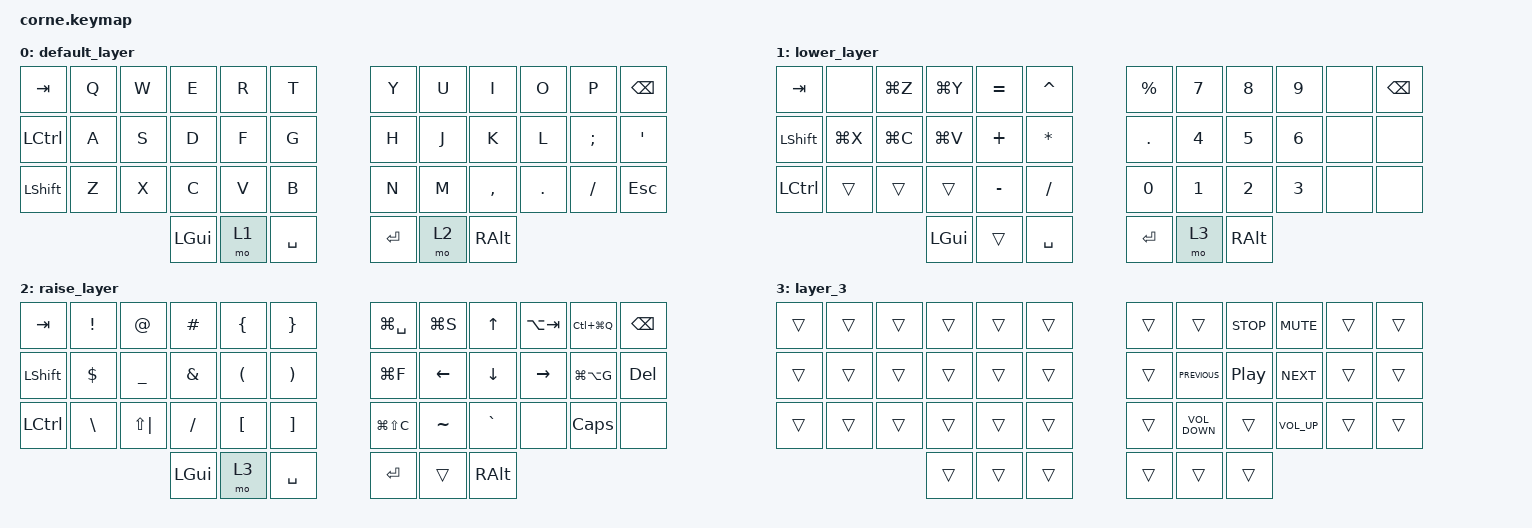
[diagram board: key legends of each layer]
/*
 * Copyright (c) 2020 The ZMK Contributors
 *
 * SPDX-License-Identifier: MIT
 */

#include <behaviors.dtsi>
#include <dt-bindings/zmk/keys.h>

/ {
    keymap {
        compatible = "zmk,keymap";

        default_layer {
            // -----------------------------------------------------------------------------------------
            // |  TAB |  Q  |  W  |  E  |  R  |  T  |   |  Y  |  U   |  I  |  O  |  P  | BSPC |
            // | CTRL |  A  |  S  |  D  |  F  |  G  |   |  H  |  J   |  K  |  L  |  ;  |  '   |
            // | SHFT |  Z  |  X  |  C  |  V  |  B  |   |  N  |  M   |  ,  |  .  |  /  | ESC  |
            //                    | GUI | LWR | SPC |   | ENT | RSE  | ALT |

            bindings = <
&kp TAB    &kp Q  &kp W  &kp E     &kp R  &kp T        &kp Y    &kp U  &kp I      &kp O    &kp P     &kp BSPC
&kp LCTRL  &kp A  &kp S  &kp D     &kp F  &kp G        &kp H    &kp J  &kp K      &kp L    &kp SEMI  &kp SQT
&kp LSHFT  &kp Z  &kp X  &kp C     &kp V  &kp B        &kp N    &kp M  &kp COMMA  &kp DOT  &kp FSLH  &kp ESC
                         &kp LGUI  &mo 1  &kp SPACE    &kp RET  &mo 2  &kp RALT
            >;
        };

        lower_layer {
            // -----------------------------------------------------------------------------------------
            // |  TAB |  1  |  2  |  3  |  4  |  5  |   |  6  |  7  |  8  |  9  |  0  | BSPC |
            // | BTCLR| BT1 | BT2 | BT3 | BT4 | BT5 |   | LFT | DWN |  UP | RGT |     |      |
            // | SHFT |     |     |     |     |     |   |     |     |     |     |     |      |
            //                    | GUI |     | SPC |   | ENT |     | ALT |

            bindings = <
&kp TAB    &none      &kp LG(Z)  &kp LG(Y)  &kp EQUAL  &kp CARET       &kp PERCENT  &kp N7  &kp N8    &kp N9  &none  &kp BSPC
&kp LSHFT  &kp LG(X)  &kp LG(C)  &kp LG(V)  &kp PLUS   &kp ASTERISK    &kp DOT      &kp N4  &kp N5    &kp N6  &none  &none
&kp LCTRL  &trans     &trans     &trans     &kp MINUS  &kp SLASH       &kp N0       &kp N1  &kp N2    &kp N3  &none  &none
                                 &kp LGUI   &trans     &kp SPACE       &kp RET      &mo 3   &kp RALT
            >;
        };

        raise_layer {
            // -----------------------------------------------------------------------------------------
            // |  TAB |  !  |  @  |  #  |  $  |  %  |   |  ^  |  &  |  *  |  (  |  )  | BSPC |
            // | CTRL |     |     |     |     |     |   |  -  |  =  |  [  |  ]  |  \  |  `   |
            // | SHFT |     |     |     |     |     |   |  _  |  +  |  {  |  }  | "|" |  ~   |
            //                    | GUI |     | SPC |   | ENT |     | ALT |

            bindings = <
&kp TAB           &kp EXCL    &kp AT          &kp HASH       &kp LEFT_BRACE        &kp RIGHT_BRACE          &kp LG(SPACE)  &kp LG(S)  &kp UP     &kp LA(TAB)  &kp LC(LG(Q))  &kp BSPC
&kp LEFT_SHIFT    &kp DOLLAR  &kp UNDERSCORE  &kp AMPERSAND  &kp LEFT_PARENTHESIS  &kp RIGHT_PARENTHESIS    &kp LG(F)      &kp LEFT   &kp DOWN   &kp RIGHT    &kp LG(LA(G))  &kp DEL
&kp LEFT_CONTROL  &kp BSLH    &kp LS(PIPE)    &kp FSLH       &kp LEFT_BRACKET      &kp RIGHT_BRACKET        &kp LG(LS(C))  &kp TILDE  &kp GRAVE  &none        &kp CAPS       &none
                                              &kp LGUI       &mo 3                 &kp SPACE                &kp RET        &trans     &kp RALT
            >;
        };

        layer_3 {
            bindings = <
&trans  &trans  &trans  &trans  &trans  &trans    &trans  &trans             &kp C_STOP        &kp K_MUTE       &trans  &trans
&trans  &trans  &trans  &trans  &trans  &trans    &trans  &kp C_PREVIOUS     &kp C_PLAY_PAUSE  &kp C_NEXT       &trans  &trans
&trans  &trans  &trans  &trans  &trans  &trans    &trans  &kp K_VOLUME_DOWN  &trans            &kp K_VOLUME_UP  &trans  &trans
                        &trans  &trans  &trans    &trans  &trans             &trans
            >;
        };
    };
};
